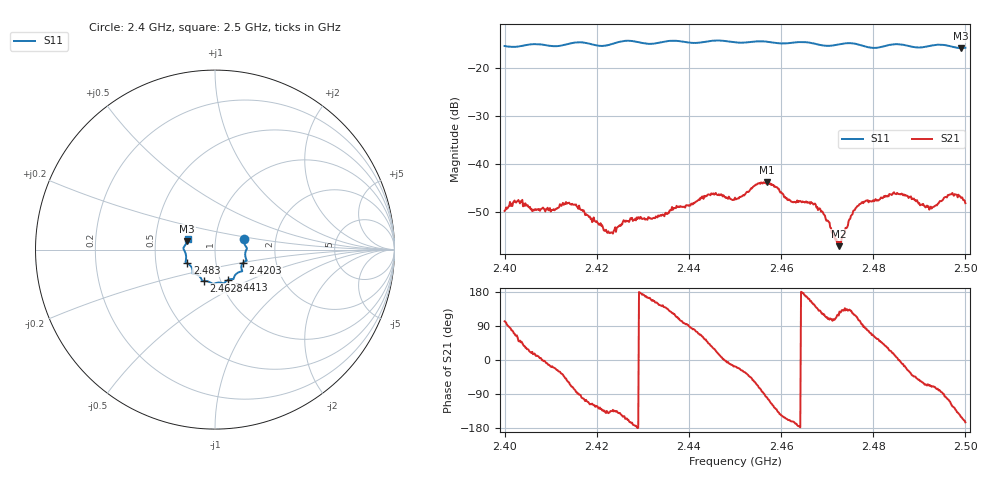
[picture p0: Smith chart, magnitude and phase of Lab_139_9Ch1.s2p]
# Hz S RI R 50
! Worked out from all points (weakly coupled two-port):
!   601 points, 2.4 GHz to 2.5 GHz, reference 50 ohm
!   highest |S21| = -43.81 dB at 2.457 GHz (marker M1); lowest = -57.2 dB at 2.4725 GHz (marker M2)
!   lowest |S11| = -15.8 dB at 2.499 GHz (marker M3), VSWR 1.39, Z = 36.4 + j3.38 ohm
!   |S11| at or under -10 dB: start of sweep to end of sweep
!   S12 and S22 are empty: the file has one direction only
!   S11 on the Smith chart (normalised r, x): 2.4 GHz: 1.37, +0.16; 2.4203 GHz: 1.35, -0.21; 2.4413 GHz: 1.09, -0.38; 2.4628 GHz: 0.83, -0.30; 2.483 GHz: 0.72, -0.11; 2.5 GHz: 0.73, +0.09
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2.4e9  0.1609 0.0565  -0.000677 0.00317  0 0  0 0
2.403333e9  0.1684 0.0228  0.00243 0.00303  0 0  0 0
2.406333e9  0.1783 0.00935  0.00313 0.000917  0 0  0 0
2.416667e9  0.1759 -0.0617  -0.000506 -0.00327  0 0  0 0
2.420333e9  0.1549 -0.0741  -0.00143 -0.00192  0 0  0 0
2.423167e9  0.147 -0.1008  -0.00137 -0.00137  0 0  0 0
2.426167e9  0.1518 -0.1195  -0.00226 -0.00104  0 0  0 0
2.433333e9  0.1082 -0.1486  -0.00246 0.00154  0 0  0 0
2.441333e9  0.0742 -0.168  0.000787 0.00391  0 0  0 0
2.445333e9  0.0514 -0.1871  0.00426 0.00249  0 0  0 0
2.45e9  0.0292 -0.184  0.00426 -0.00131  0 0  0 0
2.457e9  -0.0171 -0.1884  -0.00114 -0.00635  0 0  0 0
2.462833e9  -0.0629 -0.1745  -0.00387 -0.00112  0 0  0 0
2.466667e9  -0.0743 -0.1676  -0.00344 0.00188  0 0  0 0
2.4725e9  -0.1149 -0.1348  -0.000639 0.00123  0 0  0 0
2.476667e9  -0.1246 -0.1265  -0.00116 0.00347  0 0  0 0
2.483e9  -0.1548 -0.0766  0.00385 0.00247  0 0  0 0
2.483333e9  -0.1571 -0.0756  0.00405 0.00218  0 0  0 0
2.492667e9  -0.1727 -0.00144  0.00114 -0.00324  0 0  0 0
2.496667e9  -0.1687 0.0209  -0.00162 -0.00453  0 0  0 0
2.499e9  -0.1557 0.0452  -0.00385 -0.00223  0 0  0 0
2.5e9  -0.1529 0.0585  -0.00376 -0.00104  0 0  0 0
